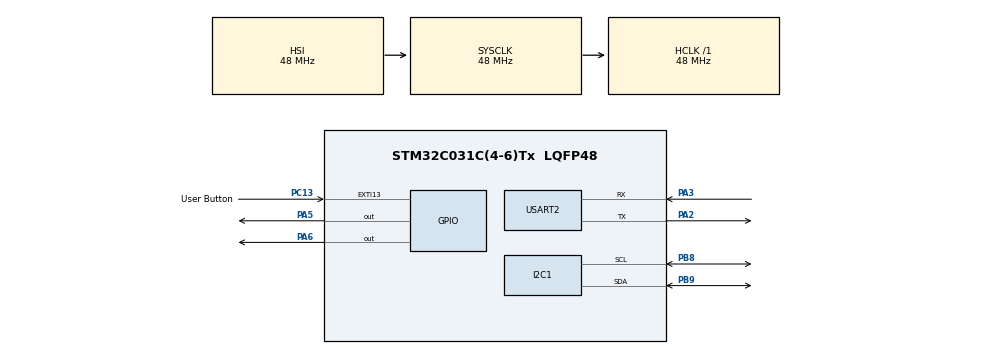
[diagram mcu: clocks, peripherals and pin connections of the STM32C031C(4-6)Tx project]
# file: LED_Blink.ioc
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I2C1.Timing=0x20303E5D
Mcu.Family=STM32C0
Mcu.Name=STM32C031C(4-6)Tx
Mcu.Package=LQFP48
NVIC.EXTI4_15_IRQn=true\:0\:0\:false\:false\:true\:true\:true\:true
PA13.Mode=Serial_Wire
PA13.Signal=DEBUG_SWDIO
PA14-BOOT0.Mode=Serial_Wire
PA14-BOOT0.Signal=DEBUG_SWCLK
PA2.Mode=Asynchronous
PA2.Signal=USART2_TX
PA3.Mode=Asynchronous
PA3.Signal=USART2_RX
PA5.Signal=GPIO_Output
PA6.Signal=GPIO_Output
PB8.Mode=I2C
PB8.Signal=I2C1_SCL
PB9.Mode=I2C
PB9.Signal=I2C1_SDA
PC13.GPIO_Label=User Button
PC13.Signal=GPXTI13
PC14-OSCX_IN\ (PC14).Mode=LSE-External-Oscillator
PC14-OSCX_IN\ (PC14).Signal=RCC_OSCX_IN
PC15-OSCX_OUT\ (PC15).Mode=LSE-External-Oscillator
PC15-OSCX_OUT\ (PC15).Signal=RCC_OSCX_OUT
PF0-OSC_IN\ (PF0).Mode=HSE-External-Oscillator
PF0-OSC_IN\ (PF0).Signal=RCC_OSC_IN
PF1-OSC_OUT\ (PF1).Mode=HSE-External-Oscillator
PF1-OSC_OUT\ (PF1).Signal=RCC_OSC_OUT
ProjectManager.HeapSize=0x200
ProjectManager.StackSize=0x400
ProjectManager.TargetToolchain=STM32CubeIDE
RCC.ADCFreq_Value=48000000
RCC.AHBFreq_Value=48000000
RCC.CortexFreq_Value=48000000
RCC.EXTERNAL_CLOCK_VALUE=12288000
RCC.HCLKFreq_Value=48000000
RCC.HSE_VALUE=48000000
RCC.HSISYSCLKDivider=RCC_HSI_DIV1
RCC.HSI_VALUE=48000000
RCC.SYSCLKFreq_VALUE=48000000
USART2.VirtualMode-Asynchronous=VM_ASYNC
board=NUCLEO-C031C6

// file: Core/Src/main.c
/* USER CODE BEGIN Header */
/**
  ******************************************************************************
  * @file           : main.c
  * @brief          : Main program body
  ******************************************************************************
  * @attention
  *
  * Copyright (c) 2023 STMicroelectronics.
  * All rights reserved.
  *
  * This software is licensed under terms that can be found in the LICENSE file
  * in the root directory of this software component.
  * If no LICENSE file comes with this software, it is provided AS-IS.
  *
  ******************************************************************************
  */
/* USER CODE END Header */
#include "main.h"

/* USER CODE BEGIN Includes */

#include "LCD_I2C.h"

/* USER CODE END Includes */

/* USER CODE BEGIN PTD */
int LCD_ADDR_CONFIG = 0x27;
/* USER CODE END PTD */

/* USER CODE BEGIN PD */
//LCD_ADDR_CONFIG = 0x27;
/* USER CODE END PD */

I2C_HandleTypeDef hi2c1;

UART_HandleTypeDef huart2;

void SystemClock_Config(void);
static void MX_GPIO_Init(void);
static void MX_I2C1_Init(void);
static void MX_USART2_UART_Init(void);

int main(void)
{

  /* MCU Configuration--------------------------------------------------------*/

  /* Reset of all peripherals, Initializes the Flash interface and the Systick. */
  HAL_Init();

  /* Configure the system clock */
  SystemClock_Config();

  /* Initialize all configured peripherals */
  MX_GPIO_Init();
  MX_I2C1_Init();
  MX_USART2_UART_Init();
  /* USER CODE BEGIN 2 */
  LCD_ADDR_CONFIG = 0x22;
  I2C_Scan();
  LCD_Init();
  LCD_ADDR_CONFIG = 0x27;
  LCD_Init();
  char msg[] = "Hello!\r\n";
  HAL_UART_Transmit(&huart2, (uint8_t*)msg, strlen(msg), HAL_MAX_DELAY);

  /* USER CODE END 2 */

  /* Infinite loop */
  while (1)
  {

    /* USER CODE BEGIN 3 */
    // set address to 0x00

    LCD_ADDR_CONFIG = 0x27;
    LCD_SetCursor(0,2);
    LCD_SendString("Using 1602 LCD1");
    LCD_SetCursor(1,0);
    LCD_SendString("  over I2C bus");
    HAL_Delay(1000);

    LCD_Clear();
    LCD_SetCursor(0,0);
    LCD_SendString("LCD1 addr0x27");
    HAL_Delay(1000);
    LCD_Clear();
    LCD_ShiftText("shifting the text to the right direction for 10 seconds",'R',60,10000);
    HAL_Delay(1000);
    LCD_Clear();

    HAL_GPIO_TogglePin(GPIOA, GPIO_PIN_6);
    HAL_Delay(1000);
    HAL_GPIO_TogglePin(GPIOA, GPIO_PIN_6);
    HAL_GPIO_TogglePin(GPIOA, GPIO_PIN_5);
    HAL_Delay(1000);
    HAL_GPIO_TogglePin(GPIOA, GPIO_PIN_5);

    LCD_ADDR_CONFIG = 0x22;
    LCD_SetCursor(0,2);
    LCD_SendString("Using 1602 LCD2");
    LCD_SetCursor(1,0);
    LCD_SendString("  over I2C bus");
    HAL_Delay(1000);

    LCD_Clear();
    LCD_SetCursor(0,0);
    LCD_SendString("LCD1 addr 0x22");
    HAL_Delay(1000);
    LCD_Clear();
    LCD_ShiftText("shifting the text to the left direction for 10 seconds",'L',50,10000);
    HAL_Delay(1000);
    LCD_Clear();

  }
  /* USER CODE END 3 */
}

void SystemClock_Config(void)
{
  RCC_OscInitTypeDef RCC_OscInitStruct = {0};
  RCC_ClkInitTypeDef RCC_ClkInitStruct = {0};

  /** Initializes the RCC Oscillators according to the specified parameters
  * in the RCC_OscInitTypeDef structure.
  */
  RCC_OscInitStruct.OscillatorType = RCC_OSCILLATORTYPE_HSI;
  RCC_OscInitStruct.HSIState = RCC_HSI_ON;
  RCC_OscInitStruct.HSIDiv = RCC_HSI_DIV1;
  RCC_OscInitStruct.HSICalibrationValue = RCC_HSICALIBRATION_DEFAULT;
  if (HAL_RCC_OscConfig(&RCC_OscInitStruct) != HAL_OK)
  {
    Error_Handler();
  }

  /** Initializes the CPU, AHB and APB buses clocks
  */
  RCC_ClkInitStruct.ClockType = RCC_CLOCKTYPE_HCLK|RCC_CLOCKTYPE_SYSCLK
                              |RCC_CLOCKTYPE_PCLK1;
  RCC_ClkInitStruct.SYSCLKSource = RCC_SYSCLKSOURCE_HSI;
  RCC_ClkInitStruct.SYSCLKDivider = RCC_SYSCLK_DIV1;
  RCC_ClkInitStruct.AHBCLKDivider = RCC_HCLK_DIV1;
  RCC_ClkInitStruct.APB1CLKDivider = RCC_APB1_DIV1;

  if (HAL_RCC_ClockConfig(&RCC_ClkInitStruct, FLASH_LATENCY_1) != HAL_OK)
  {
    Error_Handler();
  }
}

static void MX_I2C1_Init(void)
{

  hi2c1.Instance = I2C1;
  hi2c1.Init.Timing = 0x20303E5D;
  hi2c1.Init.OwnAddress1 = 0;
  hi2c1.Init.AddressingMode = I2C_ADDRESSINGMODE_7BIT;
  hi2c1.Init.DualAddressMode = I2C_DUALADDRESS_DISABLE;
  hi2c1.Init.OwnAddress2 = 0;
  hi2c1.Init.OwnAddress2Masks = I2C_OA2_NOMASK;
  hi2c1.Init.GeneralCallMode = I2C_GENERALCALL_DISABLE;
  hi2c1.Init.NoStretchMode = I2C_NOSTRETCH_DISABLE;
  if (HAL_I2C_Init(&hi2c1) != HAL_OK)
  {
    Error_Handler();
  }

  /** Configure Analogue filter
  */
  if (HAL_I2CEx_ConfigAnalogFilter(&hi2c1, I2C_ANALOGFILTER_ENABLE) != HAL_OK)
  {
    Error_Handler();
  }

  /** Configure Digital filter
  */
  if (HAL_I2CEx_ConfigDigitalFilter(&hi2c1, 0) != HAL_OK)
  {
    Error_Handler();
  }

}

static void MX_USART2_UART_Init(void)
{

  huart2.Instance = USART2;
  huart2.Init.BaudRate = 115200;
  huart2.Init.WordLength = UART_WORDLENGTH_8B;
  huart2.Init.StopBits = UART_STOPBITS_1;
  huart2.Init.Parity = UART_PARITY_NONE;
  huart2.Init.Mode = UART_MODE_TX_RX;
  huart2.Init.HwFlowCtl = UART_HWCONTROL_NONE;
  huart2.Init.OverSampling = UART_OVERSAMPLING_16;
  huart2.Init.OneBitSampling = UART_ONE_BIT_SAMPLE_DISABLE;
  huart2.Init.ClockPrescaler = UART_PRESCALER_DIV1;
  huart2.AdvancedInit.AdvFeatureInit = UART_ADVFEATURE_NO_INIT;
  if (HAL_UART_Init(&huart2) != HAL_OK)
  {
    Error_Handler();
  }

}

static void MX_GPIO_Init(void)
{
  GPIO_InitTypeDef GPIO_InitStruct = {0};

  /* GPIO Ports Clock Enable */
  __HAL_RCC_GPIOC_CLK_ENABLE();
  __HAL_RCC_GPIOF_CLK_ENABLE();
  __HAL_RCC_GPIOA_CLK_ENABLE();
  __HAL_RCC_GPIOB_CLK_ENABLE();

  /*Configure GPIO pin Output Level */
  HAL_GPIO_WritePin(GPIOA, GPIO_PIN_5|GPIO_PIN_6, GPIO_PIN_RESET);

  /*Configure GPIO pin : User_Button_Pin */
  GPIO_InitStruct.Pin = User_Button_Pin;
  GPIO_InitStruct.Mode = GPIO_MODE_IT_RISING;
  GPIO_InitStruct.Pull = GPIO_NOPULL;
  HAL_GPIO_Init(User_Button_GPIO_Port, &GPIO_InitStruct);

  /*Configure GPIO pins : PA5 PA6 */
  GPIO_InitStruct.Pin = GPIO_PIN_5|GPIO_PIN_6;
  GPIO_InitStruct.Mode = GPIO_MODE_OUTPUT_PP;
  GPIO_InitStruct.Pull = GPIO_NOPULL;
  GPIO_InitStruct.Speed = GPIO_SPEED_FREQ_LOW;
  HAL_GPIO_Init(GPIOA, &GPIO_InitStruct);

  /* EXTI interrupt init*/
  HAL_NVIC_SetPriority(EXTI4_15_IRQn, 0, 0);
  HAL_NVIC_EnableIRQ(EXTI4_15_IRQn);

}

void Error_Handler(void)
{
  __disable_irq();
  while (1)
  {
  }
}
